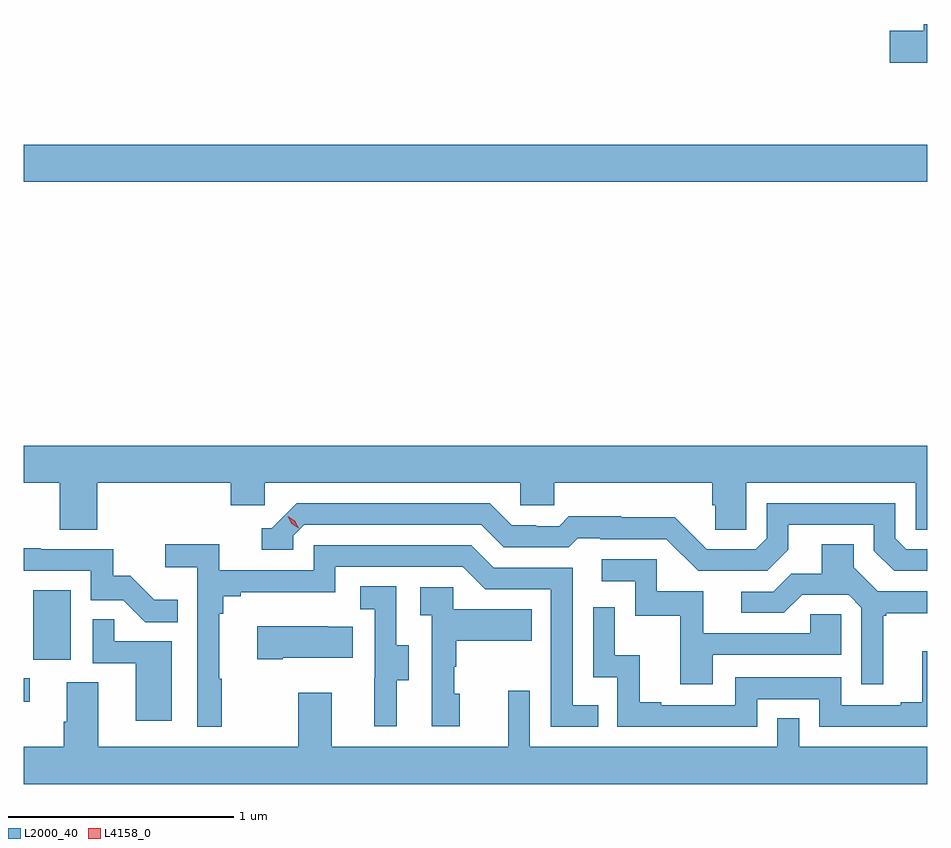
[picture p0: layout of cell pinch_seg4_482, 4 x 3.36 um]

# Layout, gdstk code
import gdstk
lib = gdstk.Library(unit=1e-6, precision=1e-09)
def R(c, l, rs):  # rectangles x0, y0, x1, y1
    for r in rs: c.add(gdstk.rectangle(r[:2], r[2:], *l))
def P(c, l, *ps):  # polygons
    for p in ps: c.add(gdstk.Polygon(p, *l))
L2000_40 = (2000, 40)
L4158_0 = (4158, 0)

pinch_seg4_482 = lib.new_cell('pinch_seg4_482')
R(pinch_seg4_482, L2000_40, [(901.428,763.884,901.456,763.989), (901.472,764.07,901.636,764.377), (901.428,766.184,905.428,766.348)])
P(pinch_seg4_482, L2000_40, [(905.428,766.883),(905.411,766.883),(905.411,766.853),(905.262,766.853),(905.262,766.711),(905.428,766.711)],
  [(901.754,764.852),(902.345,764.852),(902.345,764.754),(902.496,764.754),(902.496,764.852),(903.627,764.852),(903.627,764.754),(903.777,764.754),(903.777,764.852),(904.475,764.852),(904.475,764.754),(904.489,764.754),(904.489,764.644),(904.626,764.644),(904.626,764.852),(905.376,764.852),(905.376,764.644),(905.428,764.644),(905.428,765.016),(901.428,765.016),(901.428,764.852),(901.589,764.852),(901.589,764.644),(901.754,764.644)],
  [(904.813,764.557),(904.813,764.667),(905.19,764.667),(905.19,764.553),(905.28,764.463),(905.428,764.463),(905.428,764.559),(905.334,764.559),(905.286,764.607),(905.286,764.763),(904.716,764.763),(904.716,764.607),(904.668,764.559),(904.452,764.559),(904.31,764.701),(904.074,764.701),(904.074,764.704),(903.841,764.704),(903.799,764.661),(903.696,764.661),(903.696,764.664),(903.589,764.664),(903.49,764.763),(902.637,764.763),(902.526,764.652),(902.483,764.652),(902.483,764.556),(902.622,764.556),(902.622,764.619),(902.67,764.667),(903.453,764.667),(903.552,764.568),(903.841,764.568),(903.88,764.607),(903.979,764.607),(903.979,764.604),(904.272,764.604),(904.413,764.463),(904.719,764.463)],
  [(905.233,764.265),(905.245,764.265),(905.245,764.276),(905.428,764.276),(905.428,764.373),(905.208,764.373),(905.101,764.48),(905.101,764.582),(904.961,764.582),(904.961,764.45),(904.826,764.45),(904.746,764.37),(904.605,764.37),(904.605,764.277),(904.792,764.277),(904.873,764.358),(905.079,764.358),(905.136,764.301),(905.136,763.962),(905.233,763.962)],
  [(902.305,763.985),(902.293,763.985),(902.293,764.273),(902.312,764.273),(902.312,764.35),(902.389,764.35),(902.389,764.369),(902.808,764.369),(902.808,764.481),(903.372,764.481),(903.471,764.382),(903.762,764.382),(903.762,763.773),(903.971,763.773),(903.971,763.869),(903.858,763.869),(903.858,764.478),(903.508,764.478),(903.409,764.577),(902.712,764.577),(902.712,764.466),(902.294,764.466),(902.294,764.582),(902.055,764.582),(902.055,764.48),(902.196,764.48),(902.196,763.773),(902.305,763.773)],
  [(902.111,764.335),(902.007,764.335),(901.9,764.442),(901.824,764.442),(901.824,764.559),(901.505,764.559),(901.505,764.564),(901.428,764.564),(901.428,764.463),(901.725,764.463),(901.725,764.334),(901.869,764.334),(901.967,764.236),(902.111,764.236)],
  [(904.477,764.091),(905.046,764.091),(905.046,764.271),(904.909,764.271),(904.909,764.187),(904.435,764.187),(904.435,764.373),(904.23,764.373),(904.23,764.514),(903.987,764.514),(903.987,764.418),(904.134,764.418),(904.134,764.265),(904.333,764.265),(904.333,763.962),(904.477,763.962)],
  [(903.079,763.978),(903.133,763.978),(903.133,764.133),(903.078,764.133),(903.078,764.396),(902.919,764.396),(902.919,764.293),(902.982,764.293),(902.982,763.989),(902.981,763.989),(902.981,763.776),(903.079,763.776)],
  [(903.358,763.92),(903.333,763.92),(903.333,764.039),(903.343,764.039),(903.343,764.153),(903.677,764.153),(903.677,764.293),(903.33,764.293),(903.33,764.391),(903.183,764.391),(903.183,764.267),(903.234,764.267),(903.234,763.776),(903.358,763.776)],
  [(904.674,763.896),(904.95,763.896),(904.95,763.773),(905.428,763.773),(905.428,764.107),(905.405,764.107),(905.405,763.882),(905.309,763.882),(905.309,763.869),(905.046,763.869),(905.046,763.992),(904.578,763.992),(904.578,763.869),(904.249,763.869),(904.249,763.882),(904.154,763.882),(904.154,764.09),(904.044,764.09),(904.044,764.302),(903.948,764.302),(903.948,763.992),(904.056,763.992),(904.056,763.773),(904.674,763.773)],
  [(902.083,764.151),(901.829,764.151),(901.829,764.249),(901.734,764.249),(901.734,764.055),(901.925,764.055),(901.925,763.8),(902.083,763.8)],
  [(902.575,764.078),(902.885,764.078),(902.885,764.215),(902.777,764.215),(902.777,764.218),(902.463,764.218),(902.463,764.071),(902.575,764.071)],
  [(905.428,763.684),(904.86,763.684),(904.86,763.811),(904.764,763.811),(904.764,763.684),(903.669,763.684),(903.669,763.933),(903.572,763.933),(903.572,763.684),(902.791,763.684),(902.791,763.924),(902.644,763.924),(902.644,763.684),(901.759,763.684),(901.759,763.97),(901.619,763.97),(901.619,763.796),(901.607,763.796),(901.607,763.684),(901.428,763.684),(901.428,763.52),(905.428,763.52)])
P(pinch_seg4_482, L4158_0, [(902.645,764.652),(902.614,764.671),(902.598,764.704),(902.598,764.704),(902.598,764.704),(902.629,764.685),(902.645,764.652),(902.645,764.652)])

lib.write_gds('pinch_seg4_482.gds')
